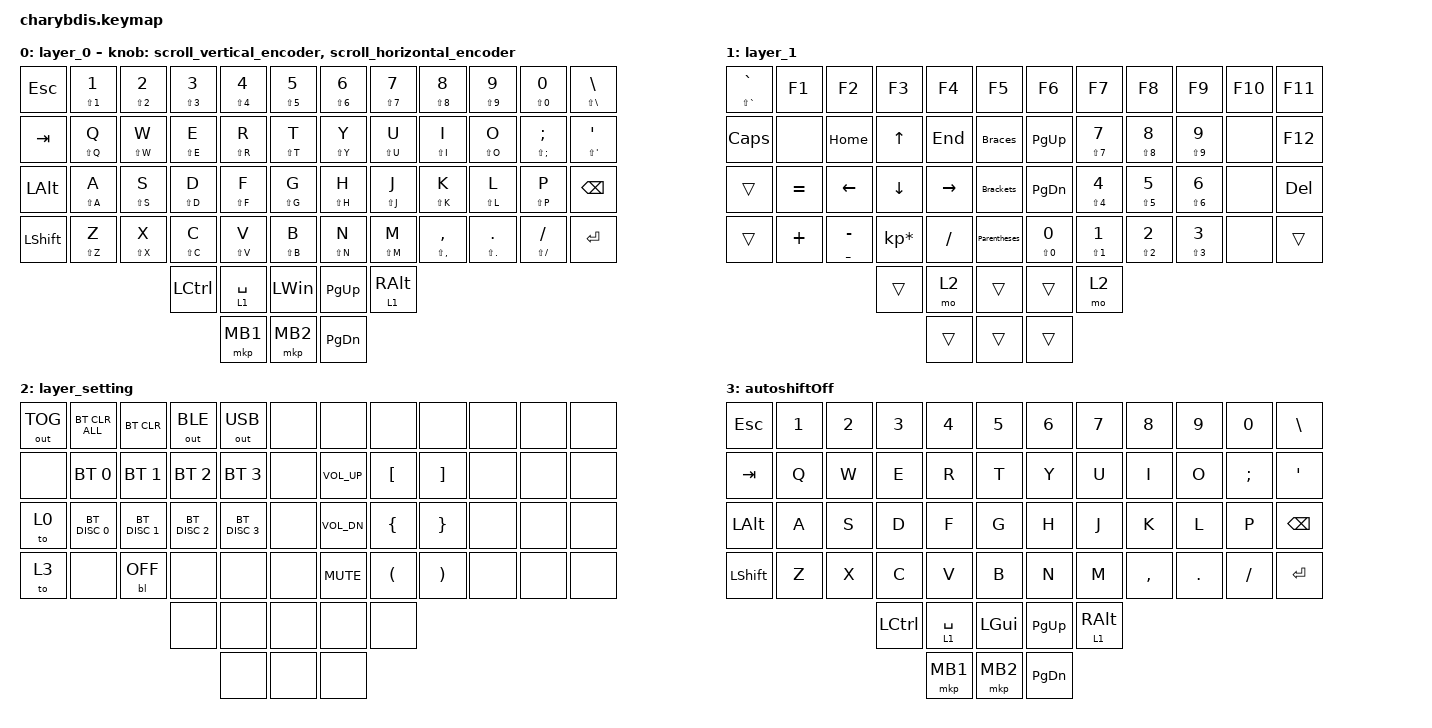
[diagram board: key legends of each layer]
#include <dt-bindings/zmk/mouse.h>
#include <input/processors.dtsi>
#include <zephyr/dt-bindings/input/input-event-codes.h>
#include <behaviors.dtsi>
#include <dt-bindings/zmk/backlight.h>
#include <dt-bindings/zmk/bt.h>
#include <dt-bindings/zmk/keys.h>
#include <dt-bindings/zmk/outputs.h>
#include <dt-bindings/zmk/pointing.h>

#define ZMK_POINTING_DEFAULT_MOVE_VAL 1000 // 600
#define ZMK_POINTING_DEFAULT_SCRL_VAL 12   // 10

&lt {
    tapping-term-ms = <200>;
    flavor = "balanced";
    quick-tap-ms = <150>;
};

&mmv_input_listener { input-processors = <&zip_xy_scaler 2 1>; };

&msc_input_listener { input-processors = <&zip_scroll_scaler 1 1>; };

&msc {
    acceleration-exponent = <0>;      // 0
    time-to-max-speed-ms = <100>;       // 300
    delay-ms = <0>;                   // 0
};

&mmv {
    time-to-max-speed-ms = <500>;
    acceleration-exponent = <1>;
    trigger-period-ms = <16>;
};

/ {
    // 上下滚动编码器行为

    scroll_vertical_encoder: scroll_vertical_encoder {
        compatible = "zmk,behavior-sensor-rotate";
        #sensor-binding-cells = <0>;
        bindings = <&msc SCRL_DOWN>, <&msc SCRL_UP>;

        tap-ms = <100>;
    };

    // 左右滚动编码器行为

    scroll_horizontal_encoder: scroll_horizontal_encoder {
        compatible = "zmk,behavior-sensor-rotate";
        #sensor-binding-cells = <0>;
        bindings = <&msc SCRL_LEFT>, <&msc SCRL_RIGHT>;

        tap-ms = <100>;
    };

    autoShift: autoShift {
        compatible = "zmk,behavior-hold-tap";
        label = "AUTOSHIFT";
        bindings = <&kp>, <&kp>;

        #binding-cells = <2>;
        flavor = "tap-preferred";
        tapping-term-ms = <250>;
    };

    behaviors {
    };

    combos {
        compatible = "zmk,combos";

        mb3 {
            bindings = <&mkp MB3>;
            key-positions = <54 53>;
            layers = <0>;
        };
    };

    macros {
        Braces: brc_in {
            compatible = "zmk,behavior-macro";
            #binding-cells = <0>;
            bindings = <&kp LEFT_BRACE &kp RIGHT_BRACE &kp LEFT_ARROW>;
            label = "BRC_IN";
        };

        Brackets: Brackets {
            compatible = "zmk,behavior-macro";
            #binding-cells = <0>;
            bindings = <&kp LEFT_BRACKET &kp RIGHT_BRACKET &kp LEFT_ARROW>;
            label = "BRACKETS";
        };

        Parentheses: Parentheses {
            compatible = "zmk,behavior-macro";
            #binding-cells = <0>;
            bindings = <&kp LEFT_PARENTHESIS &kp RIGHT_PARENTHESIS &kp LEFT_ARROW>;
            label = "PARENTHESES";
        };
    };

    keymap {
        compatible = "zmk,keymap";

        layer_0 {
            bindings = <
&kp ESC         &autoShift LS(N1) N1  &autoShift LS(N2) N2  &autoShift LS(N3) N3  &autoShift LS(N4) N4  &autoShift LS(N5) N5    &autoShift LS(N6) N6  &autoShift LS(N7) N7  &autoShift LS(N8) N8        &autoShift LS(N9) N9          &autoShift LS(N0) N0                &autoShift LS(BSLH) BSLH
&kp TAB         &autoShift LS(Q) Q    &autoShift LS(W) W    &autoShift LS(E) E    &autoShift LS(R) R    &autoShift LS(T) T      &autoShift LS(Y) Y    &autoShift LS(U) U    &autoShift LS(I) I          &autoShift LS(O) O            &autoShift LS(SEMICOLON) SEMICOLON  &autoShift LS(SINGLE_QUOTE) SINGLE_QUOTE
&kp LEFT_ALT    &autoShift LS(A) A    &autoShift LS(S) S    &autoShift LS(D) D    &autoShift LS(F) F    &autoShift LS(G) G      &autoShift LS(H) H    &autoShift LS(J) J    &autoShift LS(K) K          &autoShift LS(L) L            &autoShift LS(P) P                  &kp BACKSPACE
&kp LEFT_SHIFT  &autoShift LS(Z) Z    &autoShift LS(X) X    &autoShift LS(C) C    &autoShift LS(V) V    &autoShift LS(B) B      &autoShift LS(N) N    &autoShift LS(M) M    &autoShift LS(COMMA) COMMA  &autoShift LS(PERIOD) PERIOD  &autoShift LS(FSLH) FSLH            &kp ENTER
                                                            &kp LCTRL             &lt 1 SPACE           &kp LEFT_WIN            &kp PG_UP             &lt 1 RIGHT_ALT
                                                                                  &mkp MB1              &mkp MB2                &kp PG_DN
            >;

            sensor-bindings =
                <&scroll_vertical_encoder>,
                // 编码器1：上下滚动,,,,,,,,,,,,,,,,,,,,,,,,,,,,,,,,,
                <&scroll_horizontal_encoder>;

            // 编码器2：左右滚动
        };

        layer_1 {
            bindings = <
&autoShift LS(GRAVE) GRAVE  &kp F1     &kp F2                  &kp F3           &kp F4           &kp F5          &kp F6                &kp F7                            &kp F8                            &kp F9                            &kp F10  &kp F11
&kp CAPS                    &none      &kp HOME                &kp UP_ARROW     &kp END          &Braces         &kp PAGE_UP           &autoShift LS(N7) N7              &autoShift LS(N8) N8              &autoShift LS(N9) N9              &none    &kp F12
&trans                      &kp EQUAL  &kp LEFT_ARROW          &kp DOWN_ARROW   &kp RIGHT_ARROW  &Brackets       &kp PAGE_DOWN         &autoShift LS(NUMBER_4) NUMBER_4  &autoShift LS(N5) N5              &autoShift LS(NUMBER_6) NUMBER_6  &none    &kp DELETE
&trans                      &kp PLUS   &autoShift UNDER MINUS  &kp KP_MULTIPLY  &kp SLASH        &Parentheses    &autoShift LS(N0) N0  &autoShift LS(NUMBER_1) NUMBER_1  &autoShift LS(NUMBER_2) NUMBER_2  &autoShift LS(NUMBER_3) NUMBER_3  &none    &trans
                                                               &trans           &mo 2            &trans          &trans                &mo 2
                                                                                &trans           &trans          &trans
            >;
        };

        layer_setting {
            bindings = <
&out OUT_TOG  &bt BT_CLR_ALL  &bt BT_CLR     &out OUT_BLE   &out OUT_USB   &none    &none         &none                 &none                  &none  &none  &none
&none         &bt BT_SEL 0    &bt BT_SEL 1   &bt BT_SEL 2   &bt BT_SEL 3   &none    &kp C_VOL_UP  &kp LEFT_BRACKET      &kp RIGHT_BRACKET      &none  &none  &none
&to 0         &bt BT_DISC 0   &bt BT_DISC 1  &bt BT_DISC 2  &bt BT_DISC 3  &none    &kp C_VOL_DN  &kp LEFT_BRACE        &kp RIGHT_BRACE        &none  &none  &none
&to 3         &none           &bl BL_OFF     &none          &none          &none    &kp K_MUTE    &kp LEFT_PARENTHESIS  &kp RIGHT_PARENTHESIS  &none  &none  &none
                                             &none          &none          &none    &none         &none
                                                            &none          &none    &none
            >;
        };

        autoshiftOff {
            bindings = <
&kp ESC    &kp N1  &kp N2  &kp N3     &kp N4       &kp N5      &kp N6         &kp N7      &kp N8     &kp N9   &kp N0    &kp BSLH
&kp TAB    &kp Q   &kp W   &kp E      &kp R        &kp T       &kp Y          &kp U       &kp I      &kp O    &kp SEMI  &kp APOS
&kp LALT   &kp A   &kp S   &kp D      &kp F        &kp G       &kp H          &kp J       &kp K      &kp L    &kp P     &kp BSPC
&kp LSHFT  &kp Z   &kp X   &kp C      &kp V        &kp B       &kp N          &kp M       &kp COMMA  &kp DOT  &kp FSLH  &kp ENTER
                           &kp LCTRL  &lt 1 SPACE  &kp LGUI    &kp PAGE_UP    &lt 1 RALT
                                      &mkp MB1     &mkp MB2    &kp PAGE_DOWN
            >;
        };

        /* layer_2 {
            bindings = <
&none  &none   &none    &none   &none         &none         &kp N1         &none         &none     &none  &none   &to 0
&none  &none   &none    &none   &none         &none         &none         &none          &rgb_ug RGB_BRD &rgb_ug RGB_BRI  &rgb_ug RGB_EFF   &rgb_ug RGB_TOG
&none  &none   &none    &none   &none         &none         &none         &mkp LCLK     &mkp RCLK  &none  &none   &none
&none  &none   &none    &none   &bt BT_NXT  &bt BT_CLR    &none         &none         &none     &none  &none   &none
                                   &none         &none         &none         &none         &none
                                                 &none         &none         &none
            >;
       
            
        };

       Mouse {
            bindings = <
&none        &none         &none         &none         &none      &none         &none       &none      &none         &none         &none         &none
&none        &bt BT_SEL 0  &bt BT_SEL 1  &bt BT_SEL 3  &none      &bt BT_CLR    &bt BT_CLR  &none      &bt BT_SEL 2  &bt BT_SEL 1  &bt BT_SEL 0  &none
&none        &trans        &trans        &mkp MCLK     &trans     &none         &none       &trans     &mkp MCLK     &trans        &trans        &none
&bootloader  &trans        &mkp RCLK     &mo 4         &mkp LCLK  &mo 5         &mo 5       &mkp LCLK  &mo 4         &mkp RCLK     &trans        &bootloader
                                         &mo 5         &mkp LCLK  &mkp RCLK     &mkp RCLK   &mkp LCLK
                                                       &none      &trans        &trans
            >;

            
        };

        layer_4 {
            bindings = <
&trans  &trans  &trans     &trans     &trans     &trans       &trans     &trans     &trans     &trans     &trans  &trans
&trans  &trans  &trans     &trans     &trans     &trans       &trans     &trans     &trans     &trans     &trans  &trans
&trans  &trans  &trans     &mkp MCLK  &trans     &trans       &trans     &trans     &mkp MCLK  &trans     &trans  &trans
&trans  &trans  &mkp RCLK  &trans     &mkp LCLK  &trans       &trans     &mkp LCLK  &trans     &mkp RCLK  &trans  &trans
                           &trans     &mkp LCLK  &mkp RCLK    &mkp RCLK  &mkp LCLK
                                      &trans     &trans       &trans
            >;
                
                
               
        };

        layer_5 {
            bindings = <
&trans  &trans  &trans     &trans     &trans     &trans       &trans     &trans     &trans     &trans     &trans  &trans
&trans  &trans  &trans     &trans     &trans     &trans       &trans     &trans     &trans     &trans     &trans  &trans
&trans  &trans  &trans     &mkp MCLK  &trans     &trans       &trans     &trans     &mkp MCLK  &trans     &trans  &trans
&trans  &trans  &mkp RCLK  &trans     &mkp LCLK  &trans       &trans     &mkp LCLK  &trans     &mkp RCLK  &trans  &trans
                           &trans     &mkp LCLK  &mkp RCLK    &mkp RCLK  &mkp LCLK
                                      &trans     &trans       &trans
            >;
                
                
        };*/
    };
};
